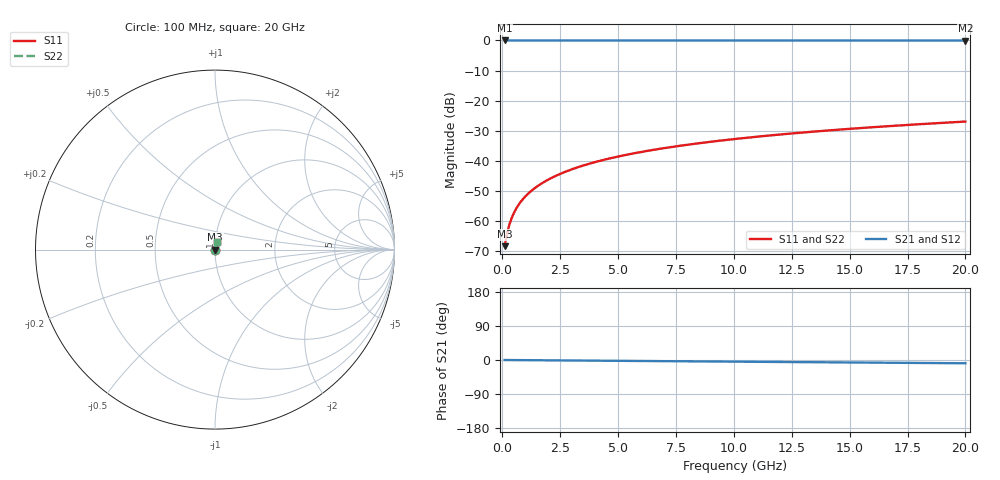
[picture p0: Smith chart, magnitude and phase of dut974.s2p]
! Touchstone file exported from HFSS 2026.1.0
!  File:  C:/ffzhzh/LocalFiles/Ansys_Project_Files/temp_train_TSV_974_1783187843_43440.aedt
!  Generated:  01:59:30 AM Jul  5, 2026
!  Design:  TSV
!  Project:  temp_train_TSV_974_1783187843_43440
! Variables:
!  h_bsmrdl = 2um
!  h_ox = 20um
!  h_rdl = 5um
!  h_sub = 83.07um
!  h_tmrdl = 5um
!  h_tsv = 83.07um
!  h_via = 3um
!  l_bsmrdl = 300um
!  l_sub = 412.64um
!  l_tmrdl = 200um
!  m_sub = 200um
!  pitch = 38.73um
!  r_tsv = 6.32um
!  s_tmrdl = 10um
!  w_bsmrdl = 18um
!  w_sub = 500um
!  w_tmrdl = 12um
!  x_tsv_center1 = 206um
!  x_tsv_center2 = 524um
!  x_tsv_center3 = 736um
!  x_tsv_center4 = 1054um
!  x_tsv_center5 = 1266um
!  x_tsv_center6 = 1584um
# GHz S MA R 50.000000
! Terminal data exported
! Port[1] = TSV1_1_T1
! Port[2] = TSV1_1_T2
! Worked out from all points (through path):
!   200 points, 100 MHz to 20 GHz, reference 50 ohm
!   highest |S21| = 0.00 dB at 100 MHz (marker M1); lowest = 0.0 dB at 20 GHz (marker M2)
!   group delay of S21, straight-line fit = 1.2 ps
!   lowest |S11| = -68.3 dB at 100 MHz (marker M3), VSWR 1.00, Z = 50 + j0.0272 ohm
!   |S11| at or under -10 dB: start of sweep to end of sweep
!   |S22| runs from -68.3 to -26.9 dB; largest |S21 - S12| = 3.2e-15
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0.1  0.000386 44.9  0.9997 -0.0  0.9997 -0.0  0.000386 44.9
! Gamma 0 0 0 0
! Port Impedance 50 0 50 0
0.2  0.0006126 62.3  0.9997 -0.1  0.9997 -0.1  0.0006126 62.3
0.3  0.0008632 69.5  0.9997 -0.1  0.9997 -0.1  0.0008632 69.5
0.4  0.001118 73.2  0.9997 -0.2  0.9997 -0.2  0.001118 73.2
0.5  0.001371 75.3  0.9997 -0.2  0.9997 -0.2  0.001371 75.3
0.6  0.001621 76.7  0.9996 -0.3  0.9996 -0.3  0.001621 76.7
0.7  0.001868 77.7  0.9996 -0.3  0.9996 -0.3  0.001868 77.7
0.8  0.002112 78.4  0.9996 -0.4  0.9996 -0.4  0.002112 78.4
1  0.002593 79.5  0.9995 -0.4  0.9995 -0.4  0.002593 79.5
1.4  0.003538 80.9  0.9995 -0.6  0.9995 -0.6  0.003538 80.9
1.7  0.004241 81.6  0.9994 -0.8  0.9994 -0.8  0.004241 81.6
2  0.004942 82.2  0.9994 -0.9  0.9994 -0.9  0.004942 82.2
2.7  0.006571 82.9  0.9993 -1.2  0.9993 -1.2  0.006571 82.9
3.5  0.008421 83.2  0.9992 -1.5  0.9992 -1.5  0.008421 83.2
4.2  0.01003 83.3  0.9991 -1.8  0.9991 -1.8  0.01003 83.3
5  0.01185 83.3  0.999 -2.2  0.999 -2.2  0.01185 83.3
6.8  0.01592 83.1  0.9988 -3.0  0.9988 -3.0  0.01592 83.1
8.3  0.01928 82.8  0.9986 -3.6  0.9986 -3.6  0.01928 82.8
10.1  0.02329 82.4  0.9984 -4.4  0.9984 -4.4  0.02329 82.4
13.4  0.03062 81.4  0.998 -5.8  0.998 -5.8  0.03062 81.4
16.7  0.03789 80.2  0.9976 -7.2  0.9976 -7.2  0.03789 80.2
20  0.04509 79.0  0.9971 -8.6  0.9971 -8.6  0.04509 79.0
